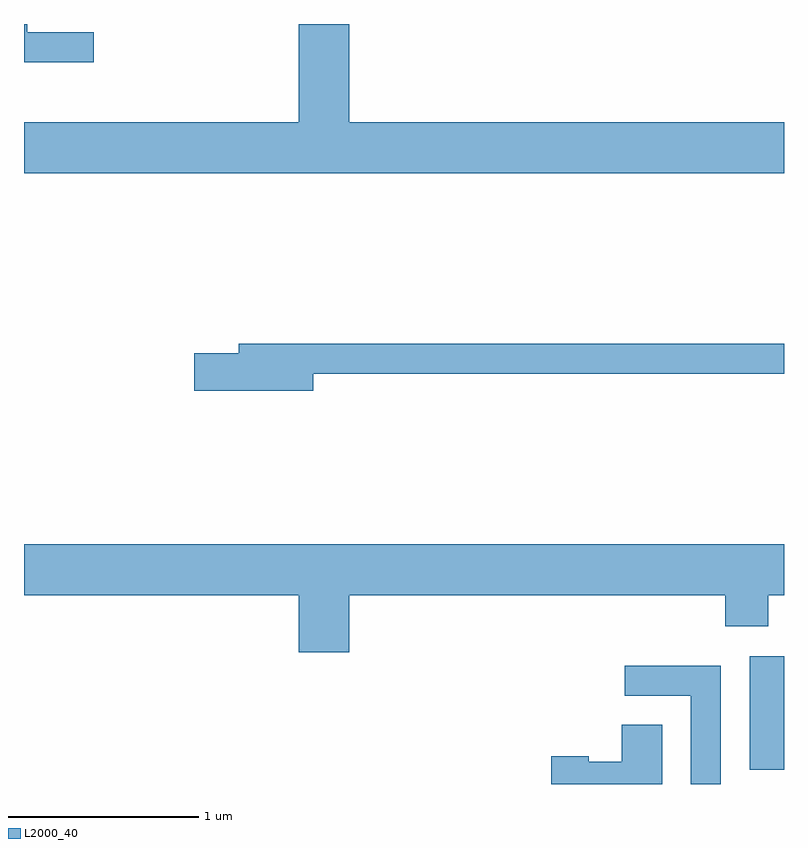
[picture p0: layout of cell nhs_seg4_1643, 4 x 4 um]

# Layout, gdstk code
import gdstk
lib = gdstk.Library(unit=1e-6, precision=1e-09)
def R(c, l, rs):  # rectangles x0, y0, x1, y1
    for r in rs: c.add(gdstk.rectangle(r[:2], r[2:], *l))
def P(c, l, *ps):  # polygons
    for p in ps: c.add(gdstk.Polygon(p, *l))
L2000_40 = (2000, 40)

nhs_seg4_1643 = lib.new_cell('nhs_seg4_1643')
R(nhs_seg4_1643, L2000_40, [(237.431,1276.056,237.611,1276.654)])
P(nhs_seg4_1643, L2000_40, [(237.611,1279.464),(235.324,1279.464),(235.324,1279.982),(235.056,1279.982),(235.056,1279.464),(233.611,1279.464),(233.611,1279.196),(237.611,1279.196)],
  [(233.978,1279.939),(233.629,1279.939),(233.629,1279.982),(233.611,1279.982),(233.611,1279.781),(233.978,1279.781)],
  [(235.134,1278.141),(237.611,1278.141),(237.611,1278.299),(234.741,1278.299),(234.741,1278.249),(234.506,1278.249),(234.506,1278.051),(235.134,1278.051)],
  [(235.324,1276.976),(237.301,1276.976),(237.301,1276.811),(237.529,1276.811),(237.529,1276.976),(237.611,1276.976),(237.611,1277.244),(233.611,1277.244),(233.611,1276.976),(235.056,1276.976),(235.056,1276.676),(235.324,1276.676)],
  [(237.279,1276.604),(236.773,1276.604),(236.773,1276.446),(237.121,1276.446),(237.121,1275.982),(237.279,1275.982)],
  [(236.969,1276.294),(236.756,1276.294),(236.756,1276.099),(236.584,1276.099),(236.584,1276.129),(236.386,1276.129),(236.386,1275.982),(236.969,1275.982)])

lib.write_gds('nhs_seg4_1643.gds')
